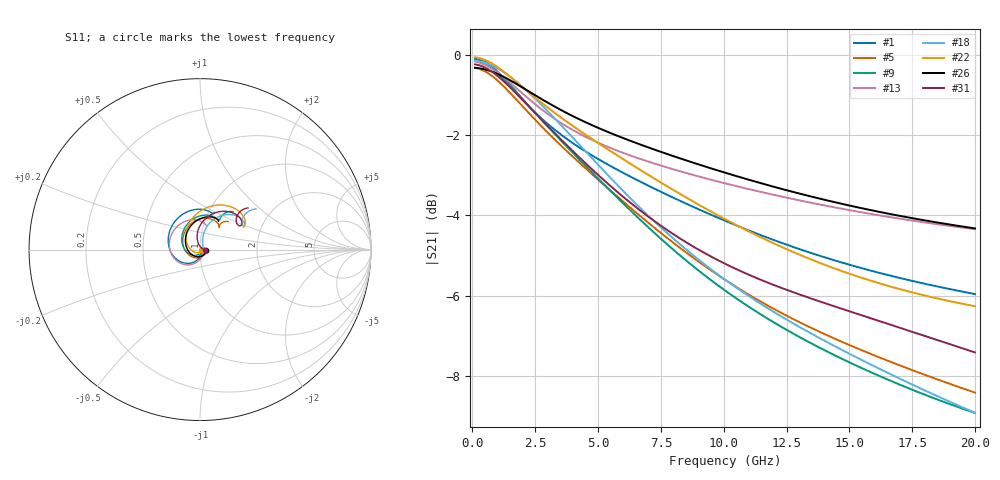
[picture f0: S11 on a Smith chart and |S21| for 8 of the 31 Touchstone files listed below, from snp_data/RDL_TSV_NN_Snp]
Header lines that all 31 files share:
! Created with skrf 1.9.0 (http://scikit-rf.org).
# GHz S RI R 50.0
!freq ReS11 ImS11 ReS21 ImS21 ReS12 ImS12 ReS22 ImS22
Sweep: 100 MHz to 20 GHz
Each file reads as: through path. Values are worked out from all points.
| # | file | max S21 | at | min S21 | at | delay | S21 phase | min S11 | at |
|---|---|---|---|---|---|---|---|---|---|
| 1 | dut3.s2p | -0.12 dB | 100 MHz | -6.0 dB | 20 GHz | 21.3 ps | -93 deg at 10.1 GHz | -36.1 dB | 100 MHz |
| 2 | dut6.s2p | -0.13 dB | 100 MHz | -4.8 dB | 20 GHz | 22 ps | -92 deg at 10.1 GHz | -36.1 dB | 100 MHz |
| 3 | dut8.s2p | -0.40 dB | 100 MHz | -7.8 dB | 20 GHz | 27.7 ps | -120 deg at 10.1 GHz | -53.5 dB | 1.4 GHz |
| 4 | dut20.s2p | -0.12 dB | 100 MHz | -8.6 dB | 20 GHz | 25.2 ps | -116 deg at 10.1 GHz | -63.8 dB | 700 MHz |
| 5 | dut21.s2p | -0.33 dB | 100 MHz | -8.4 dB | 20 GHz | 31 ps | -134 deg at 10.1 GHz | -28.7 dB | 100 MHz |
| 6 | dut37.s2p | -0.07 dB | 100 MHz | -6.2 dB | 20 GHz | 24 ps | -104 deg at 10.1 GHz | -41.4 dB | 100 MHz |
| 7 | dut38.s2p | -0.13 dB | 100 MHz | -8.4 dB | 20 GHz | 32 ps | -138 deg at 10.1 GHz | -44.6 dB | 800 MHz |
| 8 | dut41.s2p | -0.16 dB | 100 MHz | -7.2 dB | 20 GHz | 25.9 ps | -112 deg at 10.1 GHz | -35.0 dB | 100 MHz |
| 9 | dut47.s2p | -0.10 dB | 100 MHz | -8.9 dB | 20 GHz | 32.6 ps | -142 deg at 10.1 GHz | -35.0 dB | 100 MHz |
| 10 | dut66.s2p | -0.32 dB | 100 MHz | -5.3 dB | 20 GHz | 18.8 ps | -82 deg at 10.1 GHz | -43.7 dB | 1.4 GHz |
| 11 | dut74.s2p | -0.39 dB | 100 MHz | -6.7 dB | 20 GHz | 22.1 ps | -97 deg at 10.1 GHz | -29.0 dB | 1.7 GHz |
| 12 | dut76.s2p | -0.09 dB | 100 MHz | -4.8 dB | 20 GHz | 15.1 ps | -68 deg at 10.1 GHz | -42.2 dB | 700 MHz |
| 13 | dut85.s2p | -0.17 dB | 100 MHz | -4.3 dB | 20 GHz | 17.2 ps | -73 deg at 10.1 GHz | -34.0 dB | 100 MHz |
| 14 | dut90.s2p | -0.09 dB | 100 MHz | -7.0 dB | 20 GHz | 24.8 ps | -110 deg at 10.1 GHz | -39.6 dB | 100 MHz |
| 15 | dut91.s2p | -0.37 dB | 100 MHz | -8.5 dB | 20 GHz | 30.4 ps | -132 deg at 10.1 GHz | -27.6 dB | 100 MHz |
| 16 | dut93.s2p | -0.18 dB | 100 MHz | -6.4 dB | 20 GHz | 22.7 ps | -99 deg at 10.1 GHz | -35.8 dB | 700 MHz |
| 17 | dut106.s2p | -0.26 dB | 100 MHz | -7.7 dB | 20 GHz | 25.6 ps | -113 deg at 10.1 GHz | -30.6 dB | 100 MHz |
| 18 | dut108.s2p | -0.15 dB | 100 MHz | -8.9 dB | 20 GHz | 29.9 ps | -132 deg at 10.1 GHz | -35.2 dB | 100 MHz |
| 19 | dut125.s2p | -0.38 dB | 100 MHz | -9.2 dB | 20 GHz | 35.4 ps | -149 deg at 10.1 GHz | -29.3 dB | 1 GHz |
| 20 | dut143.s2p | -0.16 dB | 100 MHz | -8.9 dB | 20 GHz | 29.6 ps | -132 deg at 10.1 GHz | -34.9 dB | 100 MHz |
| 21 | dut150.s2p | -0.10 dB | 100 MHz | -7.8 dB | 20 GHz | 22.6 ps | -104 deg at 10.1 GHz | -44.0 dB | 600 MHz |
| 22 | dut157.s2p | -0.06 dB | 100 MHz | -6.3 dB | 20 GHz | 18.2 ps | -84 deg at 10.1 GHz | -42.7 dB | 100 MHz |
| 23 | dut165.s2p | -0.24 dB | 100 MHz | -8.0 dB | 20 GHz | 26.2 ps | -117 deg at 10.1 GHz | -33.9 dB | 900 MHz |
| 24 | dut187.s2p | -0.20 dB | 100 MHz | -5.2 dB | 20 GHz | 20.7 ps | -88 deg at 10.1 GHz | -32.8 dB | 100 MHz |
| 25 | dut202.s2p | -0.10 dB | 100 MHz | -8.4 dB | 20 GHz | 26.6 ps | -119 deg at 10.1 GHz | -38.3 dB | 100 MHz |
| 26 | dut208.s2p | -0.32 dB | 100 MHz | -4.3 dB | 20 GHz | 17.1 ps | -73 deg at 10.1 GHz | -28.8 dB | 100 MHz |
| 27 | dut217.s2p | -0.26 dB | 100 MHz | -10.0 dB | 20 GHz | 33.6 ps | -147 deg at 10.1 GHz | -35.9 dB | 900 MHz |
| 28 | dut226.s2p | -0.19 dB | 100 MHz | -10.5 dB | 20 GHz | 36.9 ps | -160 deg at 10.1 GHz | -46.3 dB | 700 MHz |
| 29 | dut227.s2p | -0.14 dB | 100 MHz | -6.8 dB | 20 GHz | 24.5 ps | -107 deg at 10.1 GHz | -36.1 dB | 100 MHz |
| 30 | dut229.s2p | -0.40 dB | 100 MHz | -8.7 dB | 20 GHz | 32.4 ps | -138 deg at 10.1 GHz | -30.8 dB | 1.1 GHz |
| 31 | dut230.s2p | -0.24 dB | 100 MHz | -7.4 dB | 20 GHz | 28.9 ps | -124 deg at 10.1 GHz | -37.6 dB | 800 MHz |
